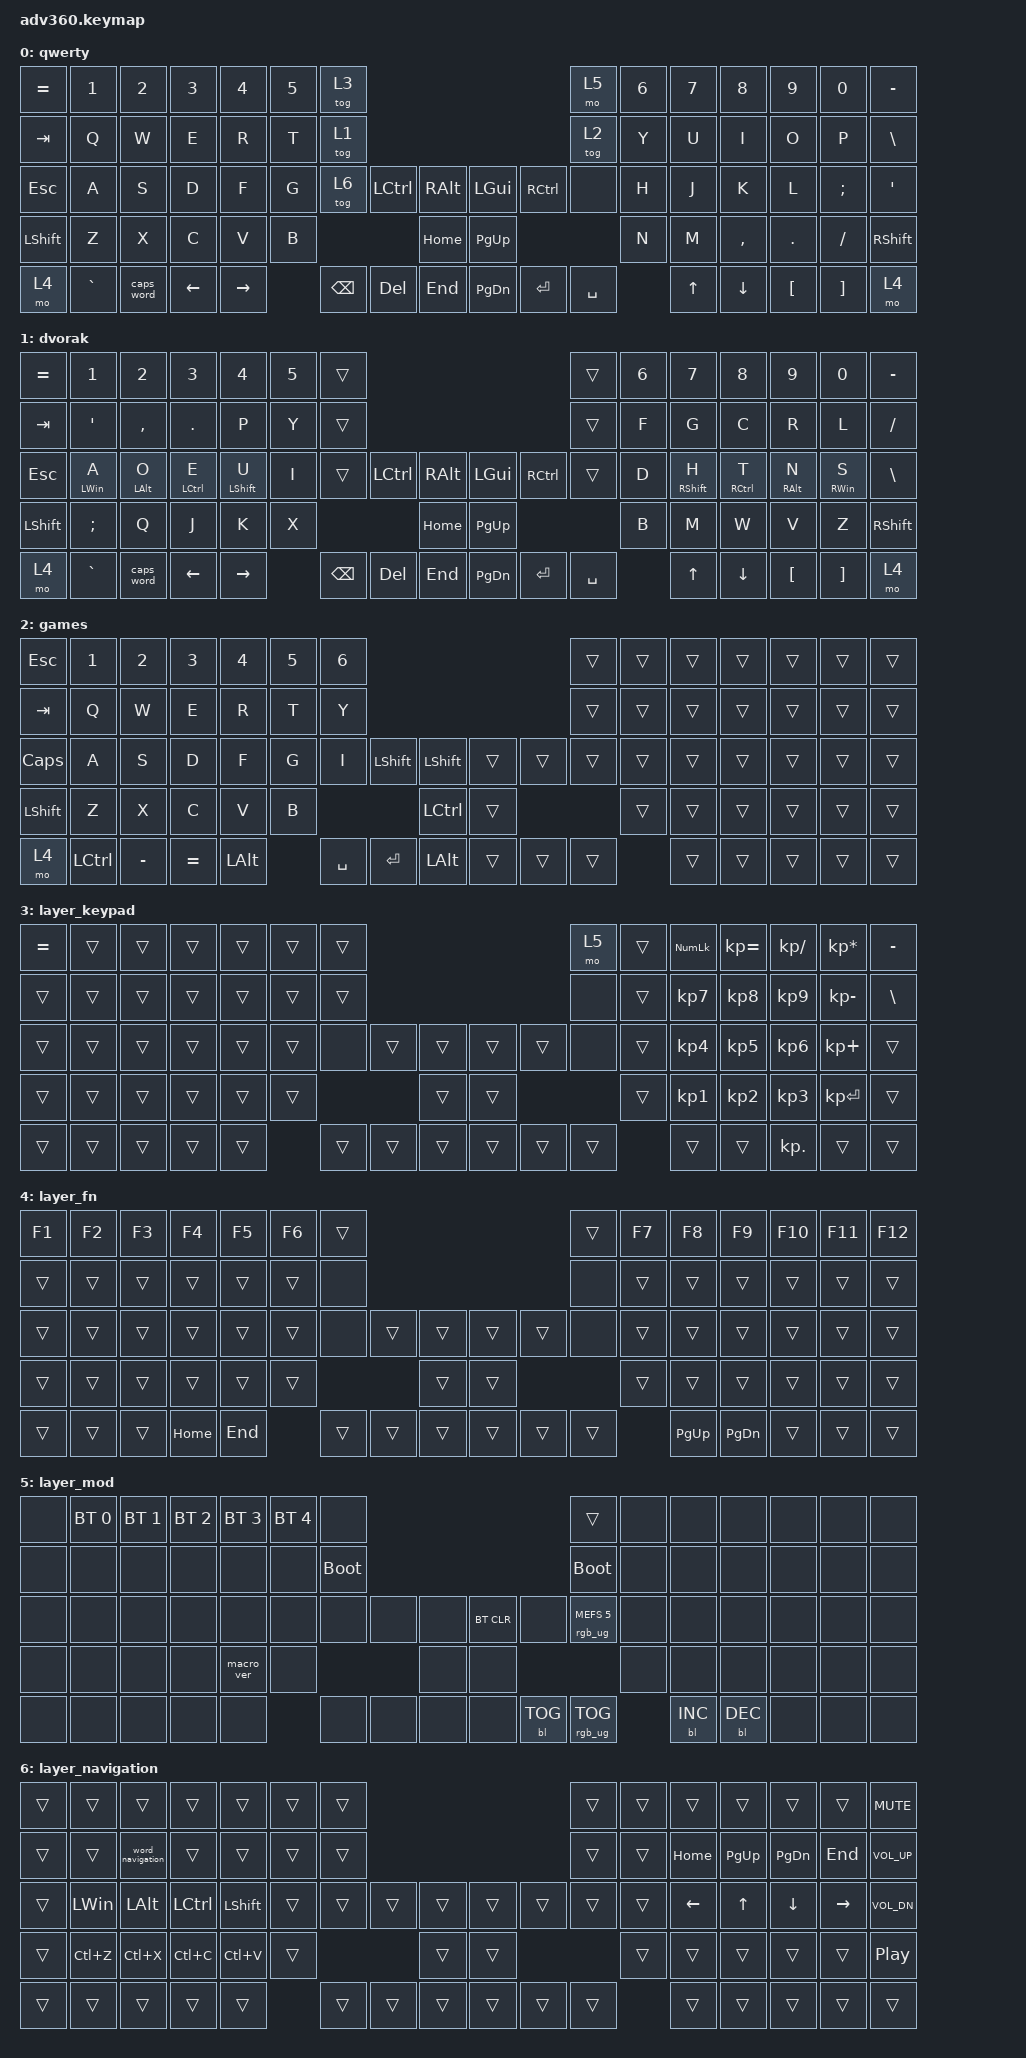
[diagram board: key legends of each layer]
/*
 * Copyright (c) 2020 The ZMK Contributors
 *
 * SPDX-License-Identifier: MIT
 */
/* THIS FILE WAS GENERATED!
 *
 * This file was generated automatically. You may or may not want to
 * edit it directly.
 */

#include <behaviors.dtsi>
#include <dt-bindings/zmk/backlight.h>
#include <dt-bindings/zmk/bt.h>
#include <dt-bindings/zmk/keys.h>
#include <dt-bindings/zmk/rgb.h>

/ {
    behaviors {
        #include "macros.dtsi"
      #include "version.dtsi"
      #ifndef VERSION_MACRO

        macro_ver: macro_ver {
            compatible = "zmk,behavior-macro";
            label = "macro_version";
            #binding-cells = <0>;
            bindings = <&kp RET>;
        };

        #endif

        hm: homerow_mods {
            compatible = "zmk,behavior-hold-tap";
            label = "HOMEROW_MODS";
            #binding-cells = <2>;
            tapping-term-ms = <300>;
            quick_tap_ms = <175>;
            flavor = "tap-preferred";
            bindings = <&kp>, <&kp>;
        };

        word_navigation: word_navigation {
            compatible = "zmk,behavior-mod-morph";
            label = "WORD_NAVIGATION";
            bindings = <&kp LC(RIGHT)>, <&kp LC(LEFT)>;

            #binding-cells = <0>;
            mods = <(MOD_RSFT|MOD_LSFT)>;
        };

        tap_dance_lshift: tap_dance_lshift {
            compatible = "zmk,behavior-tap-dance";
            label = "TAP_DANCE_LSHIFT";
            #binding-cells = <0>;
            bindings =
                <&kp LEFT_PARENTHESIS>,
                <&kp LEFT_BRACE>,
                <&kp LEFT_BRACKET>;

            tapping-term-ms = <200>;
        };

        tap_dance_rshift: tap_dance_rshift {
            compatible = "zmk,behavior-tap-dance";
            label = "TAP_DANCE_RSHIFT";
            #binding-cells = <0>;
            bindings =
                <&kp RIGHT_PARENTHESIS>,
                <&kp RIGHT_BRACE>,
                <&kp RIGHT_BRACKET>;

            tapping-term-ms = <200>;
        };

        ht_hold_preferred: ht_hold_preferred {
            compatible = "zmk,behavior-hold-tap";
            label = "HT_HOLD_PREFERRED";
            bindings = <&kp>, <&kp>;

            #binding-cells = <2>;
            tapping-term-ms = <200>;
        };

        ht_lshift: ht_lshift {
            compatible = "zmk,behavior-hold-tap";
            label = "HT_LSHIFT";
            bindings = <&kp>, <&tap_dance_lshift>;

            #binding-cells = <2>;
            tapping-term-ms = <500>;
        };

        ht_rshift: ht_rshift {
            compatible = "zmk,behavior-hold-tap";
            label = "HT_RSHIFT";
            bindings = <&kp>, <&tap_dance_rshift>;

            #binding-cells = <2>;
            tapping-term-ms = <500>;
        };
    };

    macros {
    };

    keymap {
        compatible = "zmk,keymap";

        qwerty {
            bindings = <
&kp EQUAL   &kp N1     &kp N2      &kp N3    &kp N4     &kp N5  &tog 3                                                               &mo 5      &kp N6  &kp N7  &kp N8     &kp N9    &kp N0         &kp MINUS
&kp TAB     &kp Q      &kp W       &kp E     &kp R      &kp T   &tog 1                                                               &tog 2     &kp Y   &kp U   &kp I      &kp O     &kp P          &kp BSLH
&kp ESCAPE  &kp A      &kp S       &kp D     &kp F      &kp G   &tog 6    &kp LEFT_CONTROL  &kp RIGHT_ALT      &kp LGUI   &kp RCTRL  &none      &kp H   &kp J   &kp K      &kp L     &kp SEMICOLON  &kp SQT
&kp LSHFT   &kp Z      &kp X       &kp C     &kp V      &kp B                               &kp HOME           &kp PG_UP                        &kp N   &kp M   &kp COMMA  &kp DOT   &kp FSLH       &kp RSHFT
&mo 4       &kp GRAVE  &caps_word  &kp LEFT  &kp RIGHT          &kp BSPC  &kp DEL           &kp END            &kp PG_DN  &kp ENTER  &kp SPACE          &kp UP  &kp DOWN   &kp LBKT  &kp RBKT       &mo 4
            >;
        };

        dvorak {
            bindings = <
&kp EQUAL       &kp N1          &kp N2          &kp N3              &kp N4            &kp N5  &trans                                                                    &trans     &kp N6  &kp N7             &kp N8               &kp N9           &kp N0           &kp MINUS
&kp TAB         &kp SQT         &kp COMMA       &kp DOT             &kp P             &kp Y   &trans                                                                    &trans     &kp F   &kp G              &kp C                &kp R            &kp L            &kp SLASH
&kp ESCAPE      &hm LEFT_WIN A  &hm LEFT_ALT O  &hm LEFT_CONTROL E  &hm LEFT_SHIFT U  &kp I   &trans         &kp LEFT_CONTROL  &kp RIGHT_ALT      &kp LGUI   &kp RCTRL  &trans     &kp D   &hm RIGHT_SHIFT H  &hm RIGHT_CONTROL T  &hm RIGHT_ALT N  &hm RIGHT_WIN S  &kp BACKSLASH
&kp LEFT_SHIFT  &kp SEMICOLON   &kp Q           &kp J               &kp K             &kp X                                    &kp HOME           &kp PG_UP                        &kp B   &kp M              &kp W                &kp V            &kp Z            &kp RIGHT_SHIFT
&mo 4           &kp GRAVE       &caps_word      &kp LEFT            &kp RIGHT                 &kp BACKSPACE  &kp DEL           &kp END            &kp PG_DN  &kp ENTER  &kp SPACE          &kp UP             &kp DOWN             &kp LBKT         &kp RBKT         &mo 4
            >;
        };

        games {
            bindings = <
&kp ESC    &kp N1            &kp N2     &kp N3     &kp N4        &kp N5  &kp N6                                                      &trans  &trans  &trans  &trans  &trans  &trans  &trans
&kp TAB    &kp Q             &kp W      &kp E      &kp R         &kp T   &kp Y                                                       &trans  &trans  &trans  &trans  &trans  &trans  &trans
&kp CAPS   &kp A             &kp S      &kp D      &kp F         &kp G   &kp I      &kp LSHFT  &kp LEFT_SHIFT        &trans  &trans  &trans  &trans  &trans  &trans  &trans  &trans  &trans
&kp LSHFT  &kp Z             &kp X      &kp C      &kp V         &kp B                         &kp LEFT_CONTROL      &trans                  &trans  &trans  &trans  &trans  &trans  &trans
&mo 4      &kp LEFT_CONTROL  &kp MINUS  &kp EQUAL  &kp LEFT_ALT          &kp SPACE  &kp ENTER  &kp LEFT_ALT          &trans  &trans  &trans          &trans  &trans  &trans  &trans  &trans
            >;
        };

        layer_keypad {
            bindings = <
&kp EQUAL  &trans  &trans  &trans  &trans  &trans  &trans                                      &mo 5   &trans  &kp KP_NUM  &kp KP_EQUAL  &kp KP_DIVIDE  &kp KP_MULTIPLY  &kp MINUS
&trans     &trans  &trans  &trans  &trans  &trans  &trans                                      &none   &trans  &kp KP_N7   &kp KP_N8     &kp KP_N9      &kp KP_MINUS     &kp BSLH
&trans     &trans  &trans  &trans  &trans  &trans  &none   &trans  &trans      &trans  &trans  &none   &trans  &kp KP_N4   &kp KP_N5     &kp KP_N6      &kp KP_PLUS      &trans
&trans     &trans  &trans  &trans  &trans  &trans                  &trans      &trans                  &trans  &kp KP_N1   &kp KP_N2     &kp KP_N3      &kp KP_ENTER     &trans
&trans     &trans  &trans  &trans  &trans          &trans  &trans  &trans      &trans  &trans  &trans          &trans      &trans        &kp KP_DOT     &trans           &trans
            >;
        };

        layer_fn {
            bindings = <
&kp F1  &kp F2  &kp F3  &kp F4    &kp F5   &kp F6  &trans                                      &trans  &kp F7  &kp F8       &kp F9         &kp F10  &kp F11  &kp F12
&trans  &trans  &trans  &trans    &trans   &trans  &none                                       &none   &trans  &trans       &trans         &trans   &trans   &trans
&trans  &trans  &trans  &trans    &trans   &trans  &none   &trans  &trans      &trans  &trans  &none   &trans  &trans       &trans         &trans   &trans   &trans
&trans  &trans  &trans  &trans    &trans   &trans                  &trans      &trans                  &trans  &trans       &trans         &trans   &trans   &trans
&trans  &trans  &trans  &kp HOME  &kp END          &trans  &trans  &trans      &trans  &trans  &trans          &kp PAGE_UP  &kp PAGE_DOWN  &trans   &trans   &trans
            >;
        };

        layer_mod {
            bindings = <
&none  &bt BT_SEL 0  &bt BT_SEL 1  &bt BT_SEL 2  &bt BT_SEL 3  &bt BT_SEL 4  &none                                                  &trans                  &none  &none       &none       &none  &none  &none
&none  &none         &none         &none         &none         &none         &bootloader                                            &bootloader             &none  &none       &none       &none  &none  &none
&none  &none         &none         &none         &none         &none         &none        &none  &none      &bt BT_CLR  &none       &rgb_ug RGB_MEFS_CMD 5  &none  &none       &none       &none  &none  &none
&none  &none         &none         &none         &macro_ver    &none                             &none      &none                                           &none  &none       &none       &none  &none  &none
&none  &none         &none         &none         &none                       &none        &none  &none      &none       &bl BL_TOG  &rgb_ug RGB_TOG                &bl BL_INC  &bl BL_DEC  &none  &none  &none
            >;
        };

        layer_navigation {
            bindings = <
&trans  &trans        &trans            &trans            &trans          &trans  &trans                                      &trans  &trans  &trans          &trans        &trans         &trans     &kp C_MUTE
&trans  &trans        &word_navigation  &trans            &trans          &trans  &trans                                      &trans  &trans  &kp HOME        &kp PAGE_UP   &kp PAGE_DOWN  &kp END    &kp C_VOL_UP
&trans  &kp LEFT_WIN  &kp LEFT_ALT      &kp LEFT_CONTROL  &kp LEFT_SHIFT  &trans  &trans  &trans  &trans      &trans  &trans  &trans  &trans  &kp LEFT_ARROW  &kp UP_ARROW  &kp DOWN       &kp RIGHT  &kp C_VOL_DN
&trans  &kp LC(Z)     &kp LC(X)         &kp LC(C)         &kp LC(V)       &trans                  &trans      &trans                  &trans  &trans          &trans        &trans         &trans     &kp C_PLAY_PAUSE
&trans  &trans        &trans            &trans            &trans                  &trans  &trans  &trans      &trans  &trans  &trans          &trans          &trans        &trans         &trans     &trans
            >;
        };
    };
};
